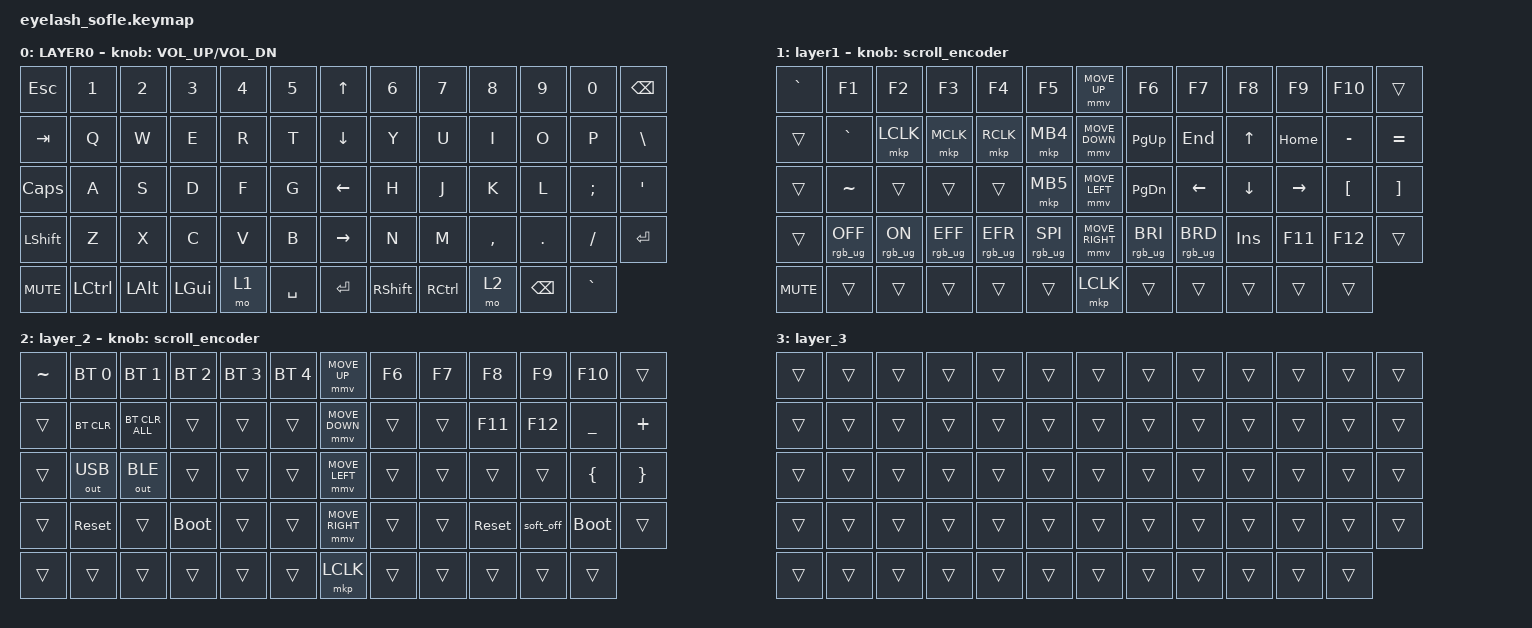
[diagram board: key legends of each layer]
#define ZMK_POINTING_DEFAULT_MOVE_VAL 1200  // 600
#define ZMK_POINTING_DEFAULT_SCRL_VAL 35    // 10

#include <input/processors.dtsi>
#include <zephyr/dt-bindings/input/input-event-codes.h>
#include <behaviors.dtsi>
#include <dt-bindings/zmk/bt.h>
#include <dt-bindings/zmk/keys.h>
#include <dt-bindings/zmk/outputs.h>
#include <dt-bindings/zmk/pointing.h>
#include <dt-bindings/zmk/pointing.h>
#include <dt-bindings/zmk/pointing.h>
#include <dt-bindings/zmk/rgb.h>

/ {
    zip_scroll_scaler: zip_scroll_scaler {
        compatible = "zmk,input-processor-scaler";
        #input-processor-cells = <2>;
        type = <INPUT_EV_REL>;
        codes = <INPUT_REL_WHEEL INPUT_REL_HWHEEL>;
        track-remainders;
    };
};

&mmv_input_listener { input-processors = <&zip_xy_scaler 2 1>; };

&msc_input_listener { input-processors = <&zip_scroll_scaler 2 1>; };

&msc {
    acceleration-exponent = <0>;      // 0
    time-to-max-speed-ms = <0>;       // 300
    delay-ms = <0>;                   // 0
};

&mmv {
    time-to-max-speed-ms = <400>;
    acceleration-exponent = <1>;
};

/ {
    scroll_encoder: scroll_encoder {
        compatible = "zmk,behavior-sensor-rotate";
        #sensor-binding-cells = <0>;
        bindings = <&msc SCRL_DOWN>, <&msc SCRL_UP>;

        tap-ms = <30>;
    };

    behaviors {
    };

    combos {
        compatible = "zmk,combos";

        left_parenthesis {
            bindings = <&kp LEFT_PARENTHESIS>;
            key-positions = <17 18>;
        };

        right_parenthesis {
            bindings = <&kp RIGHT_PARENTHESIS>;
            key-positions = <20 21>;
        };

        left_bracket {
            bindings = <&kp LEFT_BRACKET>;
            key-positions = <30 31>;
        };

        right_bracket {
            bindings = <&kp RIGHT_BRACKET>;
            key-positions = <33 34>;
        };

        left_figure_bracket {
            bindings = <&kp LEFT_BRACE>;
            key-positions = <43 44>;
        };

        right_figure_brackets {
            bindings = <&kp RIGHT_BRACE>;
            key-positions = <46 47>;
        };

        plus {
            bindings = <&kp KP_PLUS>;
            key-positions = <15 16>;
        };

        minus {
            bindings = <&kp KP_MINUS>;
            key-positions = <16 17>;
        };

        double_quote {
            bindings = <&kp DOUBLE_QUOTES>;
            key-positions = <29 30>;
        };

        single_quote {
            bindings = <&kp SINGLE_QUOTE>;
            key-positions = <34 35>;
        };

        under_minus {
            bindings = <&kp UNDERSCORE>;
            key-positions = <21 22>;
        };
    };

    keymap {
        compatible = "zmk,keymap";

        layer0 {
            bindings = <
&kp ESC     &kp N1     &kp N2    &kp N3    &kp N4  &kp N5       &kp UP_ARROW     &kp N6     &kp N7     &kp N8     &kp N9    &kp N0     &kp BACKSPACE
&kp TAB     &kp Q      &kp W     &kp E     &kp R   &kp T        &kp DOWN_ARROW   &kp Y      &kp U      &kp I      &kp O     &kp P      &kp BSLH
&kp CAPS    &kp A      &kp S     &kp D     &kp F   &kp G        &kp LEFT_ARROW   &kp H      &kp J      &kp K      &kp L     &kp SEMI   &kp APOS
&kp LSHFT   &kp Z      &kp X     &kp C     &kp V   &kp B        &kp RIGHT_ARROW  &kp N      &kp M      &kp COMMA  &kp DOT   &kp FSLH   &kp ENTER
&kp C_MUTE  &kp LCTRL  &kp LALT  &kp LGUI  &mo 1   &kp SPACE    &kp ENTER        &kp RSHFT  &kp RCTRL  &mo 2      &kp BSPC  &kp GRAVE
            >;

            sensor-bindings = <&inc_dec_kp C_VOLUME_UP C_VOL_DN>;
            display-name = "LAYER0";
        };

        layer_1 {
            bindings = <
&kp GRAVE   &kp F1           &kp F2          &kp F3           &kp F4           &kp F5             &mmv MOVE_UP     &kp F6           &kp F7           &kp F8      &kp F9     &kp F10           &trans
&trans      &kp GRAVE        &mkp LCLK       &mkp MCLK        &mkp RCLK        &mkp MB4           &mmv MOVE_DOWN   &kp PG_UP        &kp END          &kp UP      &kp HOME   &kp MINUS         &kp EQUAL
&trans      &kp TILDE        &trans          &trans           &trans           &mkp MB5           &mmv MOVE_LEFT   &kp PG_DN        &kp LEFT         &kp DOWN    &kp RIGHT  &kp LEFT_BRACKET  &kp RIGHT_BRACKET
&trans      &rgb_ug RGB_OFF  &rgb_ug RGB_ON  &rgb_ug RGB_EFF  &rgb_ug RGB_EFR  &rgb_ug RGB_SPI    &mmv MOVE_RIGHT  &rgb_ug RGB_BRI  &rgb_ug RGB_BRD  &kp INSERT  &kp F11    &kp F12           &trans
&kp C_MUTE  &trans           &trans          &trans           &trans           &trans             &mkp LCLK        &trans           &trans           &trans      &trans     &trans
            >;

            display-name = "layer1";
            sensor-bindings = <&scroll_encoder>;
        };

        layer_2 {
            bindings = <
&kp TILDE  &bt BT_SEL 0  &bt BT_SEL 1    &bt BT_SEL 2  &bt BT_SEL 3  &bt BT_SEL 4    &mmv MOVE_UP     &kp F6  &kp F7  &kp F8      &kp F9     &kp F10      &trans
&trans     &bt BT_CLR    &bt BT_CLR_ALL  &trans        &trans        &trans          &mmv MOVE_DOWN   &trans  &trans  &kp F11     &kp F12    &kp UNDER    &kp PLUS
&trans     &out OUT_USB  &out OUT_BLE    &trans        &trans        &trans          &mmv MOVE_LEFT   &trans  &trans  &trans      &trans     &kp LBRC     &kp RBRC
&trans     &sys_reset    &trans          &bootloader   &trans        &trans          &mmv MOVE_RIGHT  &trans  &trans  &sys_reset  &soft_off  &bootloader  &trans
&trans     &trans        &trans          &trans        &trans        &trans          &mkp LCLK        &trans  &trans  &trans      &trans     &trans
            >;

            sensor-bindings = <&scroll_encoder>;
        };

        layer_3 {
            bindings = <
&trans  &trans  &trans  &trans  &trans  &trans    &trans  &trans  &trans  &trans  &trans  &trans  &trans
&trans  &trans  &trans  &trans  &trans  &trans    &trans  &trans  &trans  &trans  &trans  &trans  &trans
&trans  &trans  &trans  &trans  &trans  &trans    &trans  &trans  &trans  &trans  &trans  &trans  &trans
&trans  &trans  &trans  &trans  &trans  &trans    &trans  &trans  &trans  &trans  &trans  &trans  &trans
&trans  &trans  &trans  &trans  &trans  &trans    &trans  &trans  &trans  &trans  &trans  &trans
            >;
        };
    };
};
